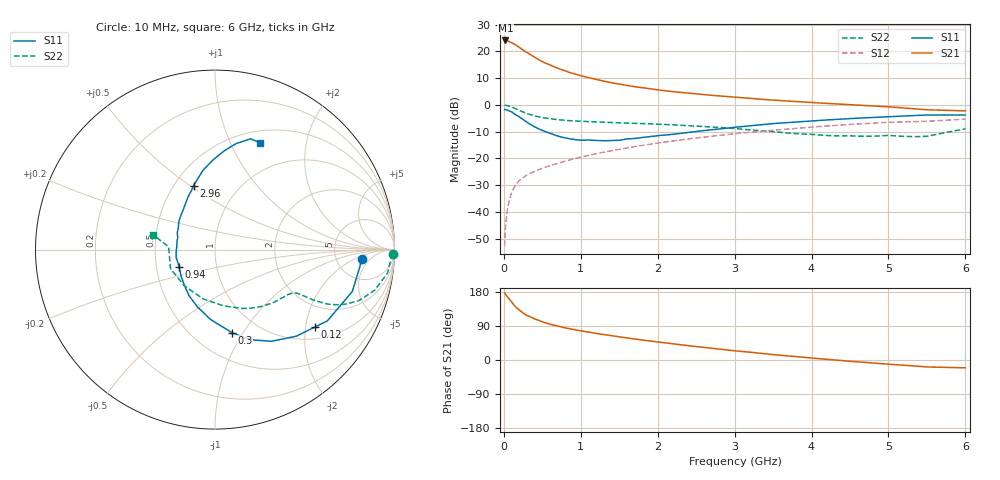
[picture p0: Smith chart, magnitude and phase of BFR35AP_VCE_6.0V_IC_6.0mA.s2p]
! Infineon Technologies  Discrete & RF Semiconductors
! BFR35AP
! VCE =  6.0 V,  IC =  6.0 mA
! Common Emitter S-Parameters:  Nov 2015
# GHz  S  MA  R  50
!  f  S11  S21  S12  S22
! GHz  MAG  ANG  MAG  ANG  MAG  ANG  MAG  ANG
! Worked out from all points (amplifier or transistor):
!   210 points, 10 MHz to 6 GHz, reference 50 ohm
!   highest |S21| = 24.1 dB at 20 MHz (marker M1)
!   |S21| within 3 dB of that: start of sweep to 221.2 MHz
!   unconditionally stable (mu >= 1): 775.3 MHz to 3.138 GHz
!   at 185 MHz: K = 0.41, MSG = 25.3 dB, |S12| = -28.8 dB
!   at 1.52 GHz: K = 1.11, MAG = 10.1 dB, |S12| = -16.5 dB
!   at 6 GHz: K = 0.92, MSG = 1.5 dB, |S12| = -5.3 dB
!   S11 on the Smith chart (normalised r, x): 10 MHz: 9.26, -2.84; 120 MHz: 1.32, -2.25; 300 MHz: 0.75, -0.89; 940 MHz: 0.65, -0.14; 2.96 GHz: 0.62, +0.52; 6 GHz: 0.64, +1.30
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0.01  0.8204 -3.5  15.9 176.8  0.0023 90.2  0.9921 -1.4
0.02  0.8122 -6.9  15.96 173.8  0.0048 85.3  0.9815 -3.1
0.05  0.8 -16.9  15.7 165.6  0.0119 81.4  0.9705 -7.7
0.1  0.7414 -32.4  14.56 152.8  0.0228 74.0  0.9186 -14.2
0.12  0.7042 -37.8  13.98 148.2  0.0262 70.9  0.8915 -16.2
0.15  0.6616 -46.8  13.3 140.5  0.0314 67.6  0.8529 -19.4
0.2  0.6 -58.4  11.88 131.8  0.0386 64.0  0.7901 -22.6
0.24  0.5481 -66.7  10.81 125.6  0.0429 61.7  0.7467 -24.3
0.3  0.472 -78.5  9.488 117.4  0.0491 60.4  0.6894 -26.0
0.4  0.3898 -93.7  7.723 108.3  0.0575 59.1  0.6216 -27.1
0.5  0.3339 -107.0  6.405 100.5  0.0654 59.1  0.5783 -27.4
0.6  0.2956 -119.1  5.522 94.4  0.0732 59.2  0.551 -27.6
0.7  0.262 -130.7  4.842 89.1  0.0807 60.0  0.5298 -27.8
0.94  0.2232 -153.9  3.706 79.1  0.1006 60.7  0.4987 -28.9
1.02  0.2193 -162.1  3.446 76.3  0.1073 60.8  0.4928 -29.6
1.4  0.2167 167.3  2.589 64.0  0.1394 60.5  0.469 -33.7
2.02  0.2677 135.7  1.894 47.1  0.1956 57.2  0.4353 -43.1
2.96  0.3754 108.5  1.406 25.2  0.2852 49.1  0.3652 -63.9
3.1  0.3934 105.7  1.355 22.5  0.2983 47.4  0.3509 -67.9
4.1  0.5128 89.5  1.087 3.4  0.3933 35.8  0.2742 -108.6
5.1  0.6109 77.3  0.898 -12.4  0.4769 21.9  0.263 -161.9
6  0.6468 67.0  0.773 -20.7  0.5427 11.4  0.3558 166.5
